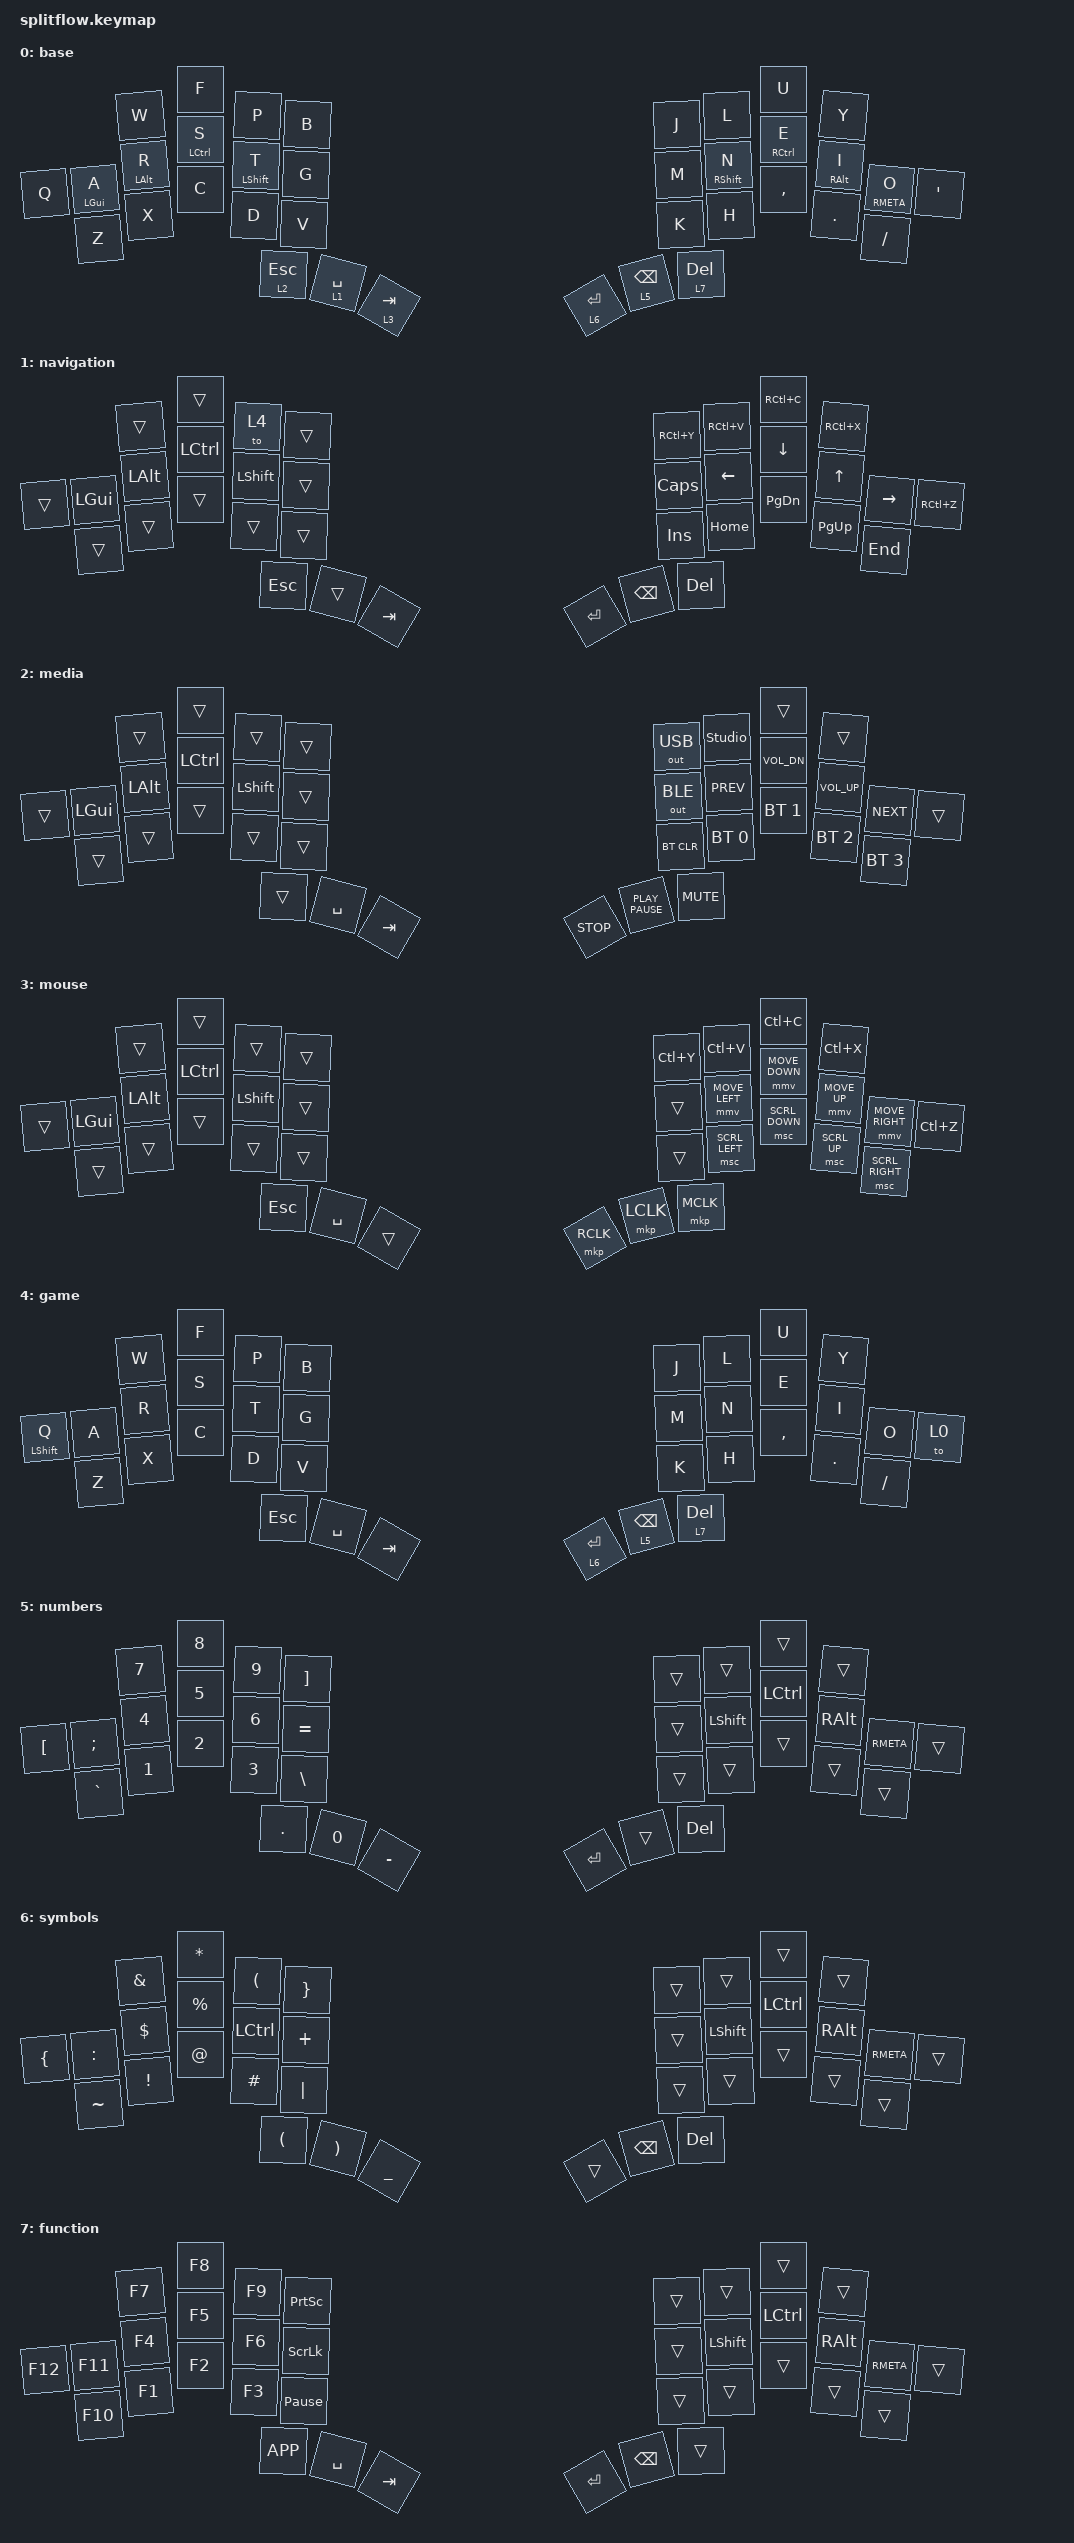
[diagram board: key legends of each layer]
#include <behaviors.dtsi>
#include <dt-bindings/zmk/bt.h>
#include <dt-bindings/zmk/keys.h>
#include <dt-bindings/zmk/outputs.h>
#include <dt-bindings/zmk/pointing.h>

/ {
    behaviors {
        hrm: hrm {
            compatible = "zmk,behavior-hold-tap";
            label = "HRM";
            bindings = <&kp>, <&kp>;

            #binding-cells = <2>;
            flavor = "balanced";
            tapping-term-ms = <150>;
            require-prior-idle-ms = <60>;
            quick-tap-ms = <180>;
            retro-tap;
        };

        thumb: thumb {
            compatible = "zmk,behavior-hold-tap";
            label = "THUMB";
            bindings = <&lt>, <&kp>;

            #binding-cells = <2>;
            flavor = "balanced";
            tapping-term-ms = <150>;
            quick-tap-ms = <200>;
            require-prior-idle-ms = <60>;
        };
    };

    keymap {
        compatible = "zmk,keymap";

        base {
            bindings = <
&kp Q        &kp W        &kp F         &kp P          &kp B          &kp J        &kp L               &kp U         &kp Y        &kp SQT
&hrm LGUI A  &hrm LALT R  &hrm LCTRL S  &hrm LSHIFT T  &kp G          &kp M        &hrm RIGHT_SHIFT N  &hrm RCTRL E  &hrm RALT I  &hrm RMETA O
&kp Z        &kp X        &kp C         &kp D          &kp V          &kp K        &kp H               &kp COMMA     &kp DOT      &kp FSLH
                          &lt 2 ESC     &lt 1 SPACE    &lt 3 TAB      &lt 6 ENTER  &lt 5 BACKSPACE     &lt 7 DELETE
            >;
        };

        navigation {
            bindings = <
&trans    &trans    &trans     &to 4      &trans       &kp RC(Y)     &kp RC(V)  &kp RC(C)  &kp RC(X)  &kp RC(Z)
&kp LGUI  &kp LALT  &kp LCTRL  &kp LSHFT  &trans       &kp CAPSLOCK  &kp LEFT   &kp DOWN   &kp UP     &kp RIGHT
&trans    &trans    &trans     &trans     &trans       &kp INS       &kp HOME   &kp PG_DN  &kp PG_UP  &kp END
                    &kp ESC    &trans     &kp TAB      &kp RET       &kp BSPC   &kp DEL
            >;
        };

        media {
            bindings = <
&trans    &trans    &trans     &trans     &trans       &out OUT_USB  &studio_unlock    &trans        &trans        &trans
&kp LGUI  &kp LALT  &kp LCTRL  &kp LSHFT  &trans       &out OUT_BLE  &kp K_PREV        &kp C_VOL_DN  &kp C_VOL_UP  &kp K_NEXT
&trans    &trans    &trans     &trans     &trans       &bt BT_CLR    &bt BT_SEL 0      &bt BT_SEL 1  &bt BT_SEL 2  &bt BT_SEL 3
                    &trans     &kp SPACE  &kp TAB      &kp K_STOP    &kp K_PLAY_PAUSE  &kp K_MUTE
            >;
        };

        mouse {
            bindings = <
&trans    &trans    &trans     &trans     &trans      &kp LC(Y)  &kp LC(V)       &kp LC(C)       &kp LC(X)     &kp LC(Z)
&kp LGUI  &kp LALT  &kp LCTRL  &kp LSHFT  &trans      &trans     &mmv MOVE_LEFT  &mmv MOVE_DOWN  &mmv MOVE_UP  &mmv MOVE_RIGHT
&trans    &trans    &trans     &trans     &trans      &trans     &msc SCRL_LEFT  &msc SCRL_DOWN  &msc SCRL_UP  &msc SCRL_RIGHT
                    &kp ESC    &kp SPACE  &trans      &mkp RCLK  &mkp LCLK       &mkp MCLK
            >;
        };

        game {
            bindings = <
&mt LSHIFT Q  &kp W  &kp F    &kp P      &kp B        &kp J        &kp L            &kp U         &kp Y    &to 0
&kp A         &kp R  &kp S    &kp T      &kp G        &kp M        &kp N            &kp E         &kp I    &kp O
&kp Z         &kp X  &kp C    &kp D      &kp V        &kp K        &kp H            &kp COMMA     &kp DOT  &kp FSLH
                     &kp ESC  &kp SPACE  &kp TAB      &lt 6 ENTER  &lt 5 BACKSPACE  &lt 7 DELETE
            >;
        };

        numbers {
            bindings = <
&kp LBKT   &kp N7  &kp N8   &kp N9  &kp RBKT       &trans   &trans     &trans     &trans    &trans
&kp SEMI   &kp N4  &kp N5   &kp N6  &kp EQUAL      &trans   &kp LSHFT  &kp LCTRL  &kp RALT  &kp RMETA
&kp GRAVE  &kp N1  &kp N2   &kp N3  &kp BSLH       &trans   &trans     &trans     &trans    &trans
                   &kp DOT  &kp N0  &kp MINUS      &kp RET  &trans     &kp DEL
            >;
        };

        symbols {
            bindings = <
&kp LEFT_BRACE  &kp AMPERSAND    &kp ASTERISK          &kp LEFT_PARENTHESIS   &kp RIGHT_BRACE      &trans  &trans         &trans     &trans    &trans
&kp COLON       &kp DOLLAR       &kp PERCENT           &kp LCTRL              &kp PLUS             &trans  &kp LSHFT      &kp LCTRL  &kp RALT  &kp RMETA
&kp TILDE       &kp EXCLAMATION  &kp AT_SIGN           &kp HASH               &kp PIPE             &trans  &trans         &trans     &trans    &trans
                                 &kp LEFT_PARENTHESIS  &kp RIGHT_PARENTHESIS  &kp UNDERSCORE       &trans  &kp BACKSPACE  &kp DEL
            >;
        };

        function {
            bindings = <
&kp F12  &kp F7  &kp F8     &kp F9     &kp PRINTSCREEN      &trans   &trans         &trans     &trans    &trans
&kp F11  &kp F4  &kp F5     &kp F6     &kp SCROLLLOCK       &trans   &kp LSHFT      &kp LCTRL  &kp RALT  &kp RMETA
&kp F10  &kp F1  &kp F2     &kp F3     &kp PAUSE_BREAK      &trans   &trans         &trans     &trans    &trans
                 &kp K_APP  &kp SPACE  &kp TAB              &kp RET  &kp BACKSPACE  &trans
            >;
        };
    };
};
